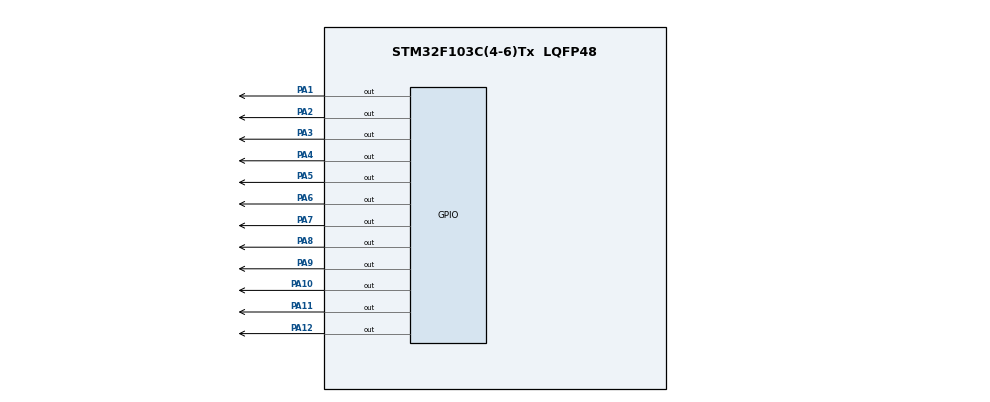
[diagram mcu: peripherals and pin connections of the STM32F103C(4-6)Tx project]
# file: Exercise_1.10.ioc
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Mcu.Family=STM32F1
Mcu.Name=STM32F103C(4-6)Tx
Mcu.Package=LQFP48
NVIC.PriorityGroup=NVIC_PRIORITYGROUP_4
PA1.Signal=GPIO_Output
PA10.Signal=GPIO_Output
PA11.Signal=GPIO_Output
PA12.Signal=GPIO_Output
PA13.Mode=Serial_Wire
PA13.Signal=SYS_JTMS-SWDIO
PA14.Mode=Serial_Wire
PA14.Signal=SYS_JTCK-SWCLK
PA2.Signal=GPIO_Output
PA3.Signal=GPIO_Output
PA4.Signal=GPIO_Output
PA5.Signal=GPIO_Output
PA6.Signal=GPIO_Output
PA7.Signal=GPIO_Output
PA8.Signal=GPIO_Output
PA9.Signal=GPIO_Output
ProjectManager.HeapSize=0x200
ProjectManager.StackSize=0x400
ProjectManager.TargetToolchain=STM32CubeIDE
RCC.APB1Freq_Value=8000000
RCC.APB2Freq_Value=8000000
board=custom

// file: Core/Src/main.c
/* USER CODE BEGIN Header */
/**
  ******************************************************************************
  * @file           : main.c
  * @brief          : Main program body
  ******************************************************************************
  * @attention
  *
  * Copyright (c) 2025 STMicroelectronics.
  * All rights reserved.
  *
  * This software is licensed under terms that can be found in the LICENSE file
  * in the root directory of this software component.
  * If no LICENSE file comes with this software, it is provided AS-IS.
  *
  ******************************************************************************
  */
/* USER CODE END Header */
#include "main.h"

void SystemClock_Config(void);
static void MX_GPIO_Init(void);
/* USER CODE BEGIN PFP */
void setNumberOnClock(int num);
void clearNumberOnClock(int num);
/* USER CODE END PFP */

/* USER CODE BEGIN 0 */
void setNumberOnClock(int num){
	switch (num){
		case 0:
			HAL_GPIO_WritePin(GPIOA, GPIO_PIN_12, SET);
			break;
		case 1:
			HAL_GPIO_WritePin(GPIOA, GPIO_PIN_1, SET);
			break;
		case 2:
			HAL_GPIO_WritePin(GPIOA, GPIO_PIN_2, SET);
			break;
		case 3:
			HAL_GPIO_WritePin(GPIOA, GPIO_PIN_3, SET);
			break;
		case 4:
			HAL_GPIO_WritePin(GPIOA, GPIO_PIN_4, SET);
			break;
		case 5:
			HAL_GPIO_WritePin(GPIOA, GPIO_PIN_5, SET);
			break;
		case 6:
			HAL_GPIO_WritePin(GPIOA, GPIO_PIN_6, SET);
			break;
		case 7:
			HAL_GPIO_WritePin(GPIOA, GPIO_PIN_7, SET);
			break;
		case 8:
			HAL_GPIO_WritePin(GPIOA, GPIO_PIN_8, SET);
			break;
		case 9:
			HAL_GPIO_WritePin(GPIOA, GPIO_PIN_9, SET);
			break;
		case 10:
			HAL_GPIO_WritePin(GPIOA, GPIO_PIN_10, SET);
			break;
		case 11:
			HAL_GPIO_WritePin(GPIOA, GPIO_PIN_11, SET);
			break;
	}
}

void clearNumberOnClock(int num){
	switch (num){
		case 0:
			HAL_GPIO_WritePin(GPIOA, GPIO_PIN_12, RESET);
			break;
		case 1:
			HAL_GPIO_WritePin(GPIOA, GPIO_PIN_1, RESET);
			break;
		case 2:
			HAL_GPIO_WritePin(GPIOA, GPIO_PIN_2, RESET);
			break;
		case 3:
			HAL_GPIO_WritePin(GPIOA, GPIO_PIN_3, RESET);
			break;
		case 4:
			HAL_GPIO_WritePin(GPIOA, GPIO_PIN_4, RESET);
			break;
		case 5:
			HAL_GPIO_WritePin(GPIOA, GPIO_PIN_5, RESET);
			break;
		case 6:
			HAL_GPIO_WritePin(GPIOA, GPIO_PIN_6, RESET);
			break;
		case 7:
			HAL_GPIO_WritePin(GPIOA, GPIO_PIN_7, RESET);
			break;
		case 8:
			HAL_GPIO_WritePin(GPIOA, GPIO_PIN_8, RESET);
			break;
		case 9:
			HAL_GPIO_WritePin(GPIOA, GPIO_PIN_9, RESET);
			break;
		case 10:
			HAL_GPIO_WritePin(GPIOA, GPIO_PIN_10, RESET);
			break;
		case 11:
			HAL_GPIO_WritePin(GPIOA, GPIO_PIN_11, RESET);
			break;
	}
}

/* USER CODE END 0 */

int main(void)
{

  /* MCU Configuration--------------------------------------------------------*/

  /* Reset of all peripherals, Initializes the Flash interface and the Systick. */
  HAL_Init();

  /* Configure the system clock */
  SystemClock_Config();

  /* Initialize all configured peripherals */
  MX_GPIO_Init();
  /* USER CODE BEGIN 2 */
  HAL_GPIO_WritePin(GPIOA, GPIO_PIN_1|GPIO_PIN_2|GPIO_PIN_3|GPIO_PIN_4
                          |GPIO_PIN_5|GPIO_PIN_6|GPIO_PIN_7|GPIO_PIN_8
                          |GPIO_PIN_9|GPIO_PIN_10|GPIO_PIN_11|GPIO_PIN_12, GPIO_PIN_RESET);
  int second = 0;
  int minute = 0;
  int hour = 0;
  int presecond = -1;
  int preminute = -1;
  int prehour = -1;
  second %= 60;
  /* USER CODE END 2 */

  /* Infinite loop */
  /* USER CODE BEGIN WHILE */
  while (1)
  {
	  int sec = second / 5;
	  int min = minute / 5;

	  if((presecond != -1) && (presecond != sec) && (presecond != min) && (presecond != hour)){
		  clearNumberOnClock(presecond);
	  }

	  if((preminute != -1) && (preminute != min) && (preminute != sec) && (preminute != hour)){
		  clearNumberOnClock(preminute);
	  }

	  if((prehour != -1) && (prehour != hour) && (prehour != sec) &&(prehour != min)){
		  clearNumberOnClock(prehour);
	  }

	  setNumberOnClock(sec);
	  setNumberOnClock(min);
	  setNumberOnClock(hour);

	  presecond = sec;
	  preminute = min;
	  prehour = hour;

	  HAL_Delay(1000);
	  second++;
	  if(second >= 60){
		  minute ++;
		  second = 0;
	  }
	  if((minute >= 60)){
		  hour++;
		  minute = 0;
	  }
	  if(hour >= 12){
		  hour = 0;
	  }
    /* USER CODE END WHILE */

  }
}

void SystemClock_Config(void)
{
  RCC_OscInitTypeDef RCC_OscInitStruct = {0};
  RCC_ClkInitTypeDef RCC_ClkInitStruct = {0};

  /** Initializes the RCC Oscillators according to the specified parameters
  * in the RCC_OscInitTypeDef structure.
  */
  RCC_OscInitStruct.OscillatorType = RCC_OSCILLATORTYPE_HSI;
  RCC_OscInitStruct.HSIState = RCC_HSI_ON;
  RCC_OscInitStruct.HSICalibrationValue = RCC_HSICALIBRATION_DEFAULT;
  RCC_OscInitStruct.PLL.PLLState = RCC_PLL_NONE;
  if (HAL_RCC_OscConfig(&RCC_OscInitStruct) != HAL_OK)
  {
    Error_Handler();
  }

  /** Initializes the CPU, AHB and APB buses clocks
  */
  RCC_ClkInitStruct.ClockType = RCC_CLOCKTYPE_HCLK|RCC_CLOCKTYPE_SYSCLK
                              |RCC_CLOCKTYPE_PCLK1|RCC_CLOCKTYPE_PCLK2;
  RCC_ClkInitStruct.SYSCLKSource = RCC_SYSCLKSOURCE_HSI;
  RCC_ClkInitStruct.AHBCLKDivider = RCC_SYSCLK_DIV1;
  RCC_ClkInitStruct.APB1CLKDivider = RCC_HCLK_DIV1;
  RCC_ClkInitStruct.APB2CLKDivider = RCC_HCLK_DIV1;

  if (HAL_RCC_ClockConfig(&RCC_ClkInitStruct, FLASH_LATENCY_0) != HAL_OK)
  {
    Error_Handler();
  }
}

static void MX_GPIO_Init(void)
{
  GPIO_InitTypeDef GPIO_InitStruct = {0};

  /* GPIO Ports Clock Enable */
  __HAL_RCC_GPIOA_CLK_ENABLE();

  /*Configure GPIO pin Output Level */
  HAL_GPIO_WritePin(GPIOA, GPIO_PIN_1|GPIO_PIN_2|GPIO_PIN_3|GPIO_PIN_4
                          |GPIO_PIN_5|GPIO_PIN_6|GPIO_PIN_7|GPIO_PIN_8
                          |GPIO_PIN_9|GPIO_PIN_10|GPIO_PIN_11|GPIO_PIN_12, GPIO_PIN_RESET);

  /*Configure GPIO pins : PA1 PA2 PA3 PA4
                           PA5 PA6 PA7 PA8
                           PA9 PA10 PA11 PA12 */
  GPIO_InitStruct.Pin = GPIO_PIN_1|GPIO_PIN_2|GPIO_PIN_3|GPIO_PIN_4
                          |GPIO_PIN_5|GPIO_PIN_6|GPIO_PIN_7|GPIO_PIN_8
                          |GPIO_PIN_9|GPIO_PIN_10|GPIO_PIN_11|GPIO_PIN_12;
  GPIO_InitStruct.Mode = GPIO_MODE_OUTPUT_PP;
  GPIO_InitStruct.Pull = GPIO_NOPULL;
  GPIO_InitStruct.Speed = GPIO_SPEED_FREQ_LOW;
  HAL_GPIO_Init(GPIOA, &GPIO_InitStruct);

}

void Error_Handler(void)
{
  __disable_irq();
  while (1)
  {
  }
}
